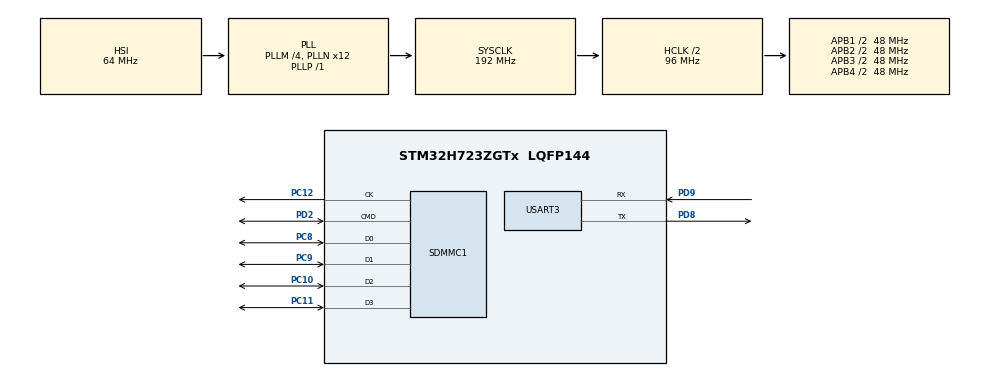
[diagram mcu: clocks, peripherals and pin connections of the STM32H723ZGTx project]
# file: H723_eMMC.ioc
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CORTEX_M7.default_mode_Activation=1
FATFS._CODE_PAGE=437
FATFS._USE_LFN=1
Mcu.Family=STM32H7
Mcu.Name=STM32H723ZGTx
Mcu.Package=LQFP144
NUCLEO-H723ZG.BUTTON=1
NUCLEO-H723ZG.LD1=true
NUCLEO-H723ZG.LD2=true
NUCLEO-H723ZG.LD3=true
NUCLEO-H723ZG.VCP=false
NVIC.EXTI15_10_IRQn=true\:0\:0\:false\:false\:true\:false\:true\:true
NVIC.PriorityGroup=NVIC_PRIORITYGROUP_4
PA13(JTMS/SWDIO).GPIO_Label=SWDIO
PA13(JTMS/SWDIO).Signal=DEBUG_JTMS-SWDIO
PA14(JTCK/SWCLK).GPIO_Label=SWCLK
PA14(JTCK/SWCLK).Signal=DEBUG_JTCK-SWCLK
PC10.GPIO_PuPd=GPIO_PULLUP
PC10.Mode=mmc_4_bits_Wide_bus
PC10.Signal=SDMMC1_D2
PC11.GPIO_PuPd=GPIO_PULLUP
PC11.Mode=mmc_4_bits_Wide_bus
PC11.Signal=SDMMC1_D3
PC12.GPIO_PuPd=GPIO_PULLUP
PC12.Mode=mmc_4_bits_Wide_bus
PC12.Signal=SDMMC1_CK
PC14-OSC32_IN.Signal=RCC_OSC32_IN
PC15-OSC32_OUT.Signal=RCC_OSC32_OUT
PC8.GPIO_PuPd=GPIO_PULLUP
PC8.Mode=mmc_4_bits_Wide_bus
PC8.Signal=SDMMC1_D0
PC9.GPIO_PuPd=GPIO_PULLUP
PC9.Mode=mmc_4_bits_Wide_bus
PC9.Signal=SDMMC1_D1
PD2.GPIO_PuPd=GPIO_PULLUP
PD2.Mode=mmc_4_bits_Wide_bus
PD2.Signal=SDMMC1_CMD
PD8.Mode=Asynchronous
PD8.Signal=USART3_TX
PD9.Mode=Asynchronous
PD9.Signal=USART3_RX
ProjectManager.HeapSize=0x200
ProjectManager.StackSize=0x400
ProjectManager.TargetToolchain=STM32CubeIDE
RCC.ADCFreq_Value=608000000
RCC.APB1Freq_Value=48000000
RCC.APB2Freq_Value=48000000
RCC.APB3Freq_Value=48000000
RCC.APB4Freq_Value=48000000
RCC.CortexFreq_Value=192000000
RCC.D1PPRE=RCC_APB3_DIV2
RCC.D2PPRE1=RCC_APB1_DIV2
RCC.D2PPRE2=RCC_APB2_DIV2
RCC.D3PPRE=RCC_APB4_DIV2
RCC.DIVM1=4
RCC.DIVM2=1
RCC.DIVN1=12
RCC.DIVN2=19
RCC.DIVP1=1
RCC.DIVQ1=4
RCC.HCLKFreq_Value=96000000
RCC.HPRE=RCC_HCLK_DIV2
RCC.HSE_VALUE=8000000
RCC.PLLFRACN=0
RCC.SYSCLKFreq_VALUE=192000000
RCC.SYSCLKSource=RCC_SYSCLKSOURCE_PLLCLK
RCC.USBCLockSelection=RCC_USBCLKSOURCE_HSI48
RCC.USBFreq_Value=48000000
SDMMC1.ClockDiv=48-1
USART3.VirtualMode-Asynchronous=VM_ASYNC
VP_FATFS_VS_Generic.Mode=User_defined
VP_MEMORYMAP_VS_MEMORYMAP.Mode=CurAppReg
VP_NUCLEO-H723ZG_VS_BSP_COMMON.Mode=COMMON
board=NUCLEO-H723ZG

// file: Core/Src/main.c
/* USER CODE BEGIN Header */
/**
  ******************************************************************************
  * @file           : main.c
  * @brief          : Main program body
  ******************************************************************************
  * @attention
  *
  * Copyright (c) 2026 STMicroelectronics.
  * All rights reserved.
  *
  * This software is licensed under terms that can be found in the LICENSE file
  * in the root directory of this software component.
  * If no LICENSE file comes with this software, it is provided AS-IS.
  *
  ******************************************************************************
  */
/* USER CODE END Header */

#include "main.h"
#include "fatfs.h"
#include <stdio.h>
#include <string.h>

MMC_HandleTypeDef hmmc1;
UART_HandleTypeDef huart3;

FATFS fs;

/* --- CLI (Command Line Interface) Variables --- */
char rx_buffer[1024];      /* Buffer to store incoming characters */
char file_data[1024];      /* Text box */
uint16_t rx_index = 0;     /* Current index in the buffer */
uint8_t rx_data;           /* Single character received via UART */
uint8_t command_ready = 0; /* Flag indicating Enter key was pressed */

void SystemClock_Config(void);
static void MPU_Config(void);
static void MX_GPIO_Init(void);
static void MX_SDMMC1_MMC_Init(void);
static void MX_USART3_UART_Init(void);

/* USER CODE BEGIN 0 */

/* Retarget printf to UART3 */
#ifdef __GNUC__
  #define PUTCHAR_PROTOTYPE int __io_putchar(int ch)
#else
  #define PUTCHAR_PROTOTYPE int fputc(int ch, FILE *f)
#endif

PUTCHAR_PROTOTYPE
{
	HAL_UART_Transmit(&huart3, (uint8_t *)&ch, 1, HAL_MAX_DELAY);
	return ch;
}

/**
  * @brief  Strict Case-Sensitive check for filenames
  * @param  target_filename: Filename input by the user
  * @param  real_filename: Buffer to store the actual filename found on eMMC
  * @retval 1 if exact match is found, 0 otherwise
  */
uint8_t OS_CheckCaseSensitive(const char* target_filename, char* real_filename)
{
	DIR dir;
	FILINFO fno;
	uint8_t match = 0;

	if (f_opendir(&dir, "/") == FR_OK)
	{
		while (f_readdir(&dir, &fno) == FR_OK && fno.fname[0] != 0)
		{
			/* Case-insensitive match to find the actual file on disk */
			if (strcasecmp(target_filename, fno.fname) == 0)
			{
				strcpy(real_filename, fno.fname);

				/* Strict case-sensitive comparison */
				if (strcmp(target_filename, fno.fname) == 0)
				{
					match = 1;
				}
				break;
			}
		}
		f_closedir(&dir);
	}
	return match;
}

/**
  * @brief  List all files in the root directory
  */
void OS_ListFiles(void)
{
	DIR dir;
	FILINFO fno;
	printf("\r\n--- eMMC File List ---\r\n");

	if (f_opendir(&dir, "/") == FR_OK)
	{
		while (f_readdir(&dir, &fno) == FR_OK && fno.fname[0] != 0)
		{
			printf("- %s \t\t(%lu bytes)\r\n", fno.fname, fno.fsize);
		}

		f_closedir(&dir);
	}
	else
	{
		printf("Error: Cannot open root directory.\r\n");
	}

	printf("----------------------\r\n");
}

/**
  * @brief  Read and print the content of a file
  * @param  filename: Name of the file to read
  */
void OS_Readfile(const char* filename)
{
	FIL tempFil;
	FRESULT res;
	uint8_t buffer[128];
	UINT bytes_read;
	char real_name[64] = {0};

	if (OS_CheckCaseSensitive(filename, real_name) == 1)
	{
		printf("\r\n[Reading: %s]\r\n", filename);
		res = f_open(&tempFil, filename, FA_READ);

		if (res == FR_OK)
		{
			do
			{
				f_read(&tempFil, buffer, sizeof(buffer)-1, &bytes_read);
				buffer[bytes_read] = '\0'; /* Ensure null-termination */
				printf("%s", buffer);
			}
			while (bytes_read == sizeof(buffer)-1);

			f_close(&tempFil);
			printf("\r\n[End of File]\r\n");
		}
		else
		{
			printf("Error: Cannot open file for reading.\r\n");
		}
	}
	else
	{
		if (strlen(real_name) > 0)
		{
			printf("Error: Case mismatch!\r\n");
			printf("You typed '%s' but the exact filename is '%s'\r\n", filename, real_name);
		}
		else
		{
			printf("Error: Cannot find %s.\r\n", filename);
		}
	}
}

/**
  * @brief  Create a new file or overwrite an existing one
  * @param  filename: Name of the file to write
  * @param  data: Content to be written
  */
void OS_WriteFile(const char* filename, const char* data)
{
	FIL tempFil;
	UINT bw;

	if (f_open(&tempFil, filename, FA_WRITE | FA_CREATE_ALWAYS) == FR_OK)
	{
		f_write(&tempFil, data, strlen(data), &bw);
		f_close(&tempFil);
		printf("Success: Saved to %s\r\n", filename);
	}
	else
	{
		printf("Error: Cannot write to file.\r\n");
	}
}

/**
  * @brief  Delete a file from the eMMC
  * @param  filename: Name of the file to delete
  */
void OS_DeleteFile(const char* filename)
{
	char real_name[64] = {0};

	if (OS_CheckCaseSensitive(filename, real_name) == 1)
	{
		if (f_unlink(filename) == FR_OK)
		{
			printf("Success: %s deleted.\r\n", filename);
		}
		else
		{
			printf("Error: Cannot delete %s.\r\n", filename);
		}
	}
	else
	{
		if (strlen(real_name) > 0)
		{
			printf("Error: Case mismatch!\r\n");
			printf("You typed '%s' but the exact filename is '%s'\r\n", filename, real_name);
		}
		else
		{
			printf("Error: Cannot find %s.\r\n", filename);
		}
	}
}
/* USER CODE END 0 */

int main(void)
{
  /* MPU Configuration--------------------------------------------------------*/
  MPU_Config();

  /* MCU Configuration--------------------------------------------------------*/
  /* Reset of all peripherals, Initializes the Flash interface and the Systick. */
  HAL_Init();

  /* Configure the system clock */
  SystemClock_Config();

  /* Initialize all configured peripherals */
  MX_GPIO_Init();
  MX_SDMMC1_MMC_Init();
  MX_FATFS_Init();
  MX_USART3_UART_Init();

  /* USER CODE BEGIN 2 */

  /* Disable buffering for stdout to ensure immediate printing to Terminal */
  setvbuf(stdout, NULL, _IONBF, 0);

  HAL_Delay(500);

  /* Mount FatFs, format if it doesn't exist */
  if (f_mount(&fs, "", 1) != FR_OK)
  {
	  uint8_t workBuffer[512];
	  f_mkfs("", FM_FAT32, 0, workBuffer, sizeof(workBuffer));
	  f_mount(&fs, "", 1);
  }

  /* Print initial prompt for the Terminal */
  printf("\r\n=======================================\r\n");
  printf("       STM32 eMMC File System CLI      \r\n");
  printf("=======================================\r\n");
  printf("Available Commands:\r\n");
  printf("  1 [filename] [text] : Create/Write a file (e.g., 1 log.txt Hello!)\r\n");
  printf("  2                   : List all files in eMMC\r\n");
  printf("  3 [filename]        : Read a file (e.g., 3 log.txt)\r\n");
  printf("  4 [filename]        : Delete a file (e.g., 4 log.txt)\r\n");
  printf("=======================================\r\n");
  printf("STM32> ");
  /* USER CODE END 2 */

  /* Initialize leds and user button */
  BSP_LED_Init(LED_GREEN);
  BSP_LED_Init(LED_YELLOW);
  BSP_LED_Init(LED_RED);
  BSP_PB_Init(BUTTON_USER, BUTTON_MODE_EXTI);

  /* Infinite loop */
  /* USER CODE BEGIN WHILE */
  while (1)
  {
      /* Check if data is received via UART (Non-blocking mode) */
      if (HAL_UART_Receive(&huart3, &rx_data, 1, 0) == HAL_OK)
      {
          /* If Enter is pressed (Carriage Return or Line Feed) */
          if (rx_data == '\r' || rx_data == '\n')
          {
              if (rx_index > 0)
              {
                  rx_buffer[rx_index] = '\0'; /* Null terminate the string */
                  command_ready = 1;          /* Set flag to process command */
                  rx_index = 0;               /* Reset buffer index for next command */
                  printf("\r\n");             /* Move to next line on console */
              }
          }
          /* If Backspace is pressed */
          else if (rx_data == '\b' || rx_data == 127)
          {
              if (rx_index > 0)
              {
                  rx_index--;
                  printf("\b \b"); /* Clear character on console display */
              }
          }
          /* Normal character input */
          else if (rx_index < sizeof(rx_buffer) - 1)
          {
              rx_buffer[rx_index++] = rx_data; /* Store character in buffer */
              printf("%c", rx_data);           /* Echo character back to console */
          }
      }

      /* Process the command when Enter is pressed */
      if (command_ready == 1)
      {
          command_ready = 0; /* Clear flag */

          int cmd = 0;
          char filename[32] = {0};

          memset(file_data, 0, sizeof(file_data));

          /* Parse the input string */
          int parsed = sscanf(rx_buffer, "%d %31s %1023[^\r\n]", &cmd, filename, file_data);

          /* Execute command based on user input */
          switch (cmd)
          {
			case 1: /* Create and write file */
			  if (parsed >= 3 && strlen(filename) > 0 && strlen(file_data) > 0)
			  {
				  size_t len = strlen(file_data);
				  if (len < sizeof(file_data) - 2)
				  {
					  file_data[len] = '\n';
					  file_data[len+1] = '\0';
				  }

				  OS_WriteFile(filename, file_data);
			  }
			  else if (parsed == 2 && strlen(filename) > 0)
			  {
				  printf("Warning: No text provided. Writing default text.\r\n");
				  OS_WriteFile(filename, "Default text generated by STM32.\n");
			  }
			  else
			  {
				  printf("Error (Cmd 1): Invalid format.\r\n");
				  printf("-> Usage: 1 [filename] [text to write]\r\n");
				  printf("-> Example: 1 mydata.txt Hello STM32 World!\r\n");
			  }
			  break;

			case 2: /* List all files */
				OS_ListFiles();
				break;

			case 3: /* Read file */
				if (strlen(filename) > 0)
				{
					OS_Readfile(filename);
				}
				else
				{
					printf("Error (Cmd 3): Missing filename.\r\n");
					printf("-> Usage: 3 [filename]\r\n");
					printf("-> Example: 3 mydata.txt\r\n");
				}
				break;

			case 4: /* Delete file */
				if (strlen(filename) > 0)
				{
					OS_DeleteFile(filename);
				}
				else
				{
					printf("Error (Cmd 4): Missing filename.\r\n");
					printf("-> Usage: 4 [filename]\r\n");
					printf("-> Example: 4 mydata.txt\r\n");
				}
				break;

			default:
				printf("Error: Unknown command '%d'.\r\n", cmd);
				printf("Please use 1, 2, 3, or 4 (Type '2' to see available files).\r\n");
				break;
		  }

		/* Print prompt for the next command */
		printf("\r\nSTM32> ");
      }
  }
  /* USER CODE END 3 */
}

void SystemClock_Config(void)
{
  RCC_OscInitTypeDef RCC_OscInitStruct = {0};
  RCC_ClkInitTypeDef RCC_ClkInitStruct = {0};

  /** Supply configuration update enable
  */
  HAL_PWREx_ConfigSupply(PWR_LDO_SUPPLY);

  /** Configure the main internal regulator output voltage
  */
  __HAL_PWR_VOLTAGESCALING_CONFIG(PWR_REGULATOR_VOLTAGE_SCALE2);

  while(!__HAL_PWR_GET_FLAG(PWR_FLAG_VOSRDY)) {}

  /** Initializes the RCC Oscillators according to the specified parameters
  * in the RCC_OscInitTypeDef structure.
  */
  RCC_OscInitStruct.OscillatorType = RCC_OSCILLATORTYPE_HSI;
  RCC_OscInitStruct.HSIState = RCC_HSI_DIV1;
  RCC_OscInitStruct.HSICalibrationValue = 64;
  RCC_OscInitStruct.PLL.PLLState = RCC_PLL_ON;
  RCC_OscInitStruct.PLL.PLLSource = RCC_PLLSOURCE_HSI;
  RCC_OscInitStruct.PLL.PLLM = 4;
  RCC_OscInitStruct.PLL.PLLN = 12;
  RCC_OscInitStruct.PLL.PLLP = 1;
  RCC_OscInitStruct.PLL.PLLQ = 4;
  RCC_OscInitStruct.PLL.PLLR = 2;
  RCC_OscInitStruct.PLL.PLLRGE = RCC_PLL1VCIRANGE_3;
  RCC_OscInitStruct.PLL.PLLVCOSEL = RCC_PLL1VCOWIDE;
  RCC_OscInitStruct.PLL.PLLFRACN = 0;
  if (HAL_RCC_OscConfig(&RCC_OscInitStruct) != HAL_OK)
  {
    Error_Handler();
  }

  /** Initializes the CPU, AHB and APB buses clocks
  */
  RCC_ClkInitStruct.ClockType = RCC_CLOCKTYPE_HCLK|RCC_CLOCKTYPE_SYSCLK
                              |RCC_CLOCKTYPE_PCLK1|RCC_CLOCKTYPE_PCLK2
                              |RCC_CLOCKTYPE_D3PCLK1|RCC_CLOCKTYPE_D1PCLK1;
  RCC_ClkInitStruct.SYSCLKSource = RCC_SYSCLKSOURCE_PLLCLK;
  RCC_ClkInitStruct.SYSCLKDivider = RCC_SYSCLK_DIV1;
  RCC_ClkInitStruct.AHBCLKDivider = RCC_HCLK_DIV2;
  RCC_ClkInitStruct.APB3CLKDivider = RCC_APB3_DIV2;
  RCC_ClkInitStruct.APB1CLKDivider = RCC_APB1_DIV2;
  RCC_ClkInitStruct.APB2CLKDivider = RCC_APB2_DIV2;
  RCC_ClkInitStruct.APB4CLKDivider = RCC_APB4_DIV2;

  if (HAL_RCC_ClockConfig(&RCC_ClkInitStruct, FLASH_LATENCY_1) != HAL_OK)
  {
    Error_Handler();
  }
}

static void MX_SDMMC1_MMC_Init(void)
{
  hmmc1.Instance = SDMMC1;
  hmmc1.Init.ClockEdge = SDMMC_CLOCK_EDGE_RISING;
  hmmc1.Init.ClockPowerSave = SDMMC_CLOCK_POWER_SAVE_DISABLE;
  hmmc1.Init.BusWide = SDMMC_BUS_WIDE_4B;
  hmmc1.Init.HardwareFlowControl = SDMMC_HARDWARE_FLOW_CONTROL_DISABLE;
  hmmc1.Init.ClockDiv = 48-1;
  if (HAL_MMC_Init(&hmmc1) != HAL_OK)
  {
    Error_Handler();
  }
}

static void MX_USART3_UART_Init(void)
{
  huart3.Instance = USART3;
  huart3.Init.BaudRate = 115200;
  huart3.Init.WordLength = UART_WORDLENGTH_8B;
  huart3.Init.StopBits = UART_STOPBITS_1;
  huart3.Init.Parity = UART_PARITY_NONE;
  huart3.Init.Mode = UART_MODE_TX_RX;
  huart3.Init.HwFlowCtl = UART_HWCONTROL_NONE;
  huart3.Init.OverSampling = UART_OVERSAMPLING_16;
  huart3.Init.OneBitSampling = UART_ONE_BIT_SAMPLE_DISABLE;
  huart3.Init.ClockPrescaler = UART_PRESCALER_DIV1;
  huart3.AdvancedInit.AdvFeatureInit = UART_ADVFEATURE_NO_INIT;
  if (HAL_UART_Init(&huart3) != HAL_OK)
  {
    Error_Handler();
  }
  if (HAL_UARTEx_SetTxFifoThreshold(&huart3, UART_TXFIFO_THRESHOLD_1_8) != HAL_OK)
  {
    Error_Handler();
  }
  if (HAL_UARTEx_SetRxFifoThreshold(&huart3, UART_RXFIFO_THRESHOLD_1_8) != HAL_OK)
  {
    Error_Handler();
  }
  if (HAL_UARTEx_DisableFifoMode(&huart3) != HAL_OK)
  {
    Error_Handler();
  }
}

static void MX_GPIO_Init(void)
{
  /* GPIO Ports Clock Enable */
  __HAL_RCC_GPIOC_CLK_ENABLE();
  __HAL_RCC_GPIOD_CLK_ENABLE();
  __HAL_RCC_GPIOA_CLK_ENABLE();
}

/**
  * @brief MPU Configuration
  * @retval None
  */
void MPU_Config(void)
{
  MPU_Region_InitTypeDef MPU_InitStruct = {0};

  /* Disables the MPU */
  HAL_MPU_Disable();

  /** Initializes and configures the Region and the memory to be protected
  */
  MPU_InitStruct.Enable = MPU_REGION_ENABLE;
  MPU_InitStruct.Number = MPU_REGION_NUMBER0;
  MPU_InitStruct.BaseAddress = 0x0;
  MPU_InitStruct.Size = MPU_REGION_SIZE_4GB;
  MPU_InitStruct.SubRegionDisable = 0x87;
  MPU_InitStruct.TypeExtField = MPU_TEX_LEVEL0;
  MPU_InitStruct.AccessPermission = MPU_REGION_NO_ACCESS;
  MPU_InitStruct.DisableExec = MPU_INSTRUCTION_ACCESS_DISABLE;
  MPU_InitStruct.IsShareable = MPU_ACCESS_SHAREABLE;
  MPU_InitStruct.IsCacheable = MPU_ACCESS_NOT_CACHEABLE;
  MPU_InitStruct.IsBufferable = MPU_ACCESS_NOT_BUFFERABLE;

  HAL_MPU_ConfigRegion(&MPU_InitStruct);
  /* Enables the MPU */
  HAL_MPU_Enable(MPU_PRIVILEGED_DEFAULT);
}

void Error_Handler(void)
{
  __disable_irq();
  while (1)
  {
  }
}
